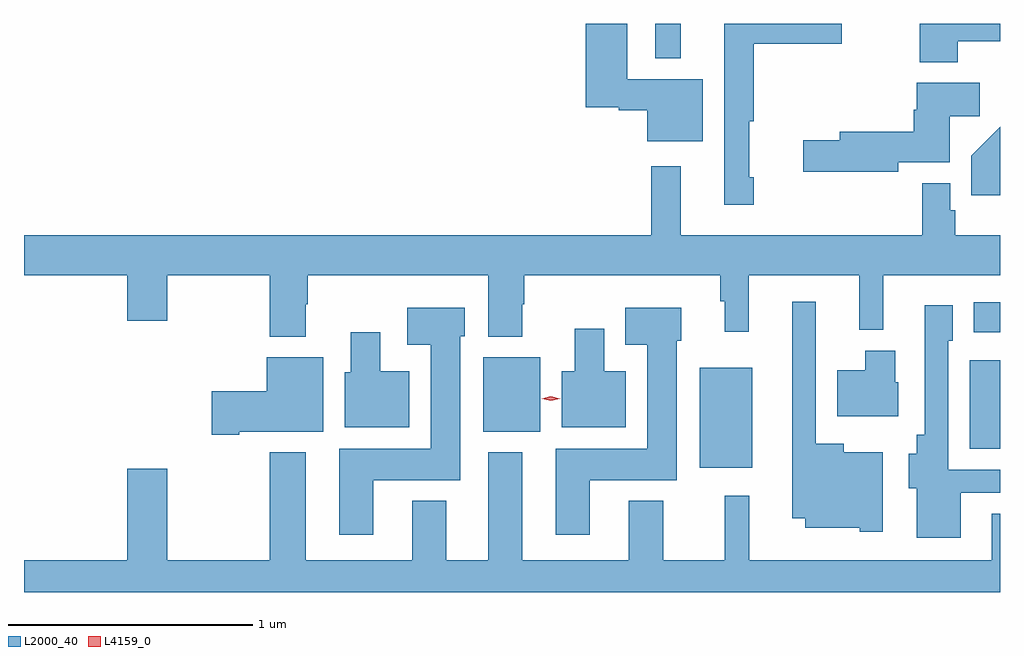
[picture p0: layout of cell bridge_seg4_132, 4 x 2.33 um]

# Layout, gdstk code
import gdstk
lib = gdstk.Library(unit=1e-6, precision=1e-09)
def R(c, l, rs):  # rectangles x0, y0, x1, y1
    for r in rs: c.add(gdstk.rectangle(r[:2], r[2:], *l))
def P(c, l, *ps):  # polygons
    for p in ps: c.add(gdstk.Polygon(p, *l))
L2000_40 = (2000, 40)
L4159_0 = (4159, 0)

bridge_seg4_132 = lib.new_cell('bridge_seg4_132')
R(bridge_seg4_132, L2000_40, [(335.186,749.411,335.401,749.821), (336.293,749.488,336.416,749.851), (334.298,749.558,334.531,749.863), (336.308,749.966,336.416,750.088), (335.003,751.088,335.107,751.23)])
P(bridge_seg4_132, L2000_40, [(336.243,751.158),(336.416,751.158),(336.416,751.23),(336.088,751.23),(336.088,751.073),(336.243,751.073)],
  [(335.197,751.003),(334.888,751.003),(334.888,751.23),(334.718,751.23),(334.718,750.887),(334.854,750.887),(334.854,750.875),(334.97,750.875),(334.97,750.749),(335.197,750.749)],
  [(335.407,750.601),(335.389,750.601),(335.389,750.83),(335.407,750.83),(335.407,751.147),(335.767,751.147),(335.767,751.23),(335.285,751.23),(335.285,750.489),(335.407,750.489)],
  [(335.998,750.662),(336.211,750.662),(336.211,750.85),(336.332,750.85),(336.332,750.988),(336.074,750.988),(336.074,750.878),(336.062,750.878),(336.062,750.788),(335.759,750.788),(335.759,750.753),(335.61,750.753),(335.61,750.623),(335.998,750.623)],
  [(336.416,750.808),(336.298,750.69),(336.298,750.528),(336.416,750.528)],
  [(333.571,750.08),(333.579,750.08),(333.579,750.2),(334.319,750.2),(334.319,749.948),(334.459,749.948),(334.459,750.08),(334.467,750.08),(334.467,750.2),(335.269,750.2),(335.269,750.092),(335.288,750.092),(335.288,749.967),(335.387,749.967),(335.387,750.2),(335.84,750.2),(335.84,749.975),(335.938,749.975),(335.938,750.2),(336.416,750.2),(336.416,750.364),(336.233,750.364),(336.233,750.465),(336.213,750.465),(336.213,750.577),(336.097,750.577),(336.097,750.364),(335.107,750.364),(335.107,750.646),(334.986,750.646),(334.986,750.364),(332.416,750.364),(332.416,750.2),(332.84,750.2),(332.84,750.012),(333.004,750.012),(333.004,750.2),(333.424,750.2),(333.424,749.948),(333.571,749.948)],
  [(335.935,749.473),(335.776,749.473),(335.776,749.509),(335.661,749.509),(335.661,750.091),(335.564,750.091),(335.564,749.204),(335.618,749.204),(335.618,749.165),(335.841,749.165),(335.841,749.147),(335.935,749.147)],
  [(336.256,749.307),(336.416,749.307),(336.416,749.403),(336.204,749.403),(336.204,749.931),(336.223,749.931),(336.223,750.076),(336.108,750.076),(336.108,749.545),(336.074,749.545),(336.074,749.468),(336.041,749.468),(336.041,749.326),(336.074,749.326),(336.074,749.123),(336.256,749.123)],
  [(333.847,749.36),(334.204,749.36),(334.204,749.949),(334.222,749.949),(334.222,750.067),(333.987,750.067),(333.987,749.915),(334.082,749.915),(334.082,749.488),(333.707,749.488),(333.707,749.136),(333.847,749.136)],
  [(334.735,749.36),(335.092,749.36),(335.092,749.931),(335.11,749.931),(335.11,750.067),(334.88,750.067),(334.88,749.915),(334.97,749.915),(334.97,749.488),(334.595,749.488),(334.595,749.136),(334.735,749.136)],
  [(334.882,749.806),(334.795,749.806),(334.795,749.98),(334.673,749.98),(334.673,749.806),(334.619,749.806),(334.619,749.576),(334.882,749.576)],
  [(333.994,749.806),(333.877,749.806),(333.877,749.965),(333.755,749.965),(333.755,749.802),(333.731,749.802),(333.731,749.576),(333.994,749.576)],
  [(335.998,749.76),(335.986,749.76),(335.986,749.89),(335.864,749.89),(335.864,749.809),(335.75,749.809),(335.75,749.621),(335.998,749.621)],
  [(333.298,749.558),(333.643,749.558),(333.643,749.863),(333.41,749.863),(333.41,749.724),(333.186,749.724),(333.186,749.546),(333.298,749.546)],
  [(336.416,749.222),(336.383,749.222),(336.383,749.032),(335.388,749.032),(335.388,749.296),(335.287,749.296),(335.287,749.032),(335.035,749.032),(335.035,749.275),(334.895,749.275),(334.895,749.032),(334.459,749.032),(334.459,749.473),(334.319,749.473),(334.319,749.032),(334.147,749.032),(334.147,749.275),(334.007,749.275),(334.007,749.032),(333.571,749.032),(333.571,749.473),(333.424,749.473),(333.424,749.032),(333.004,749.032),(333.004,749.407),(332.84,749.407),(332.84,749.032),(332.416,749.032),(332.416,748.9),(336.416,748.9)])
P(bridge_seg4_132, L4159_0, [(334.575,749.684),(334.537,749.694),(334.536,749.694),(334.537,749.694),(334.575,749.704),(334.613,749.694),(334.614,749.694),(334.613,749.694)])

lib.write_gds('bridge_seg4_132.gds')
